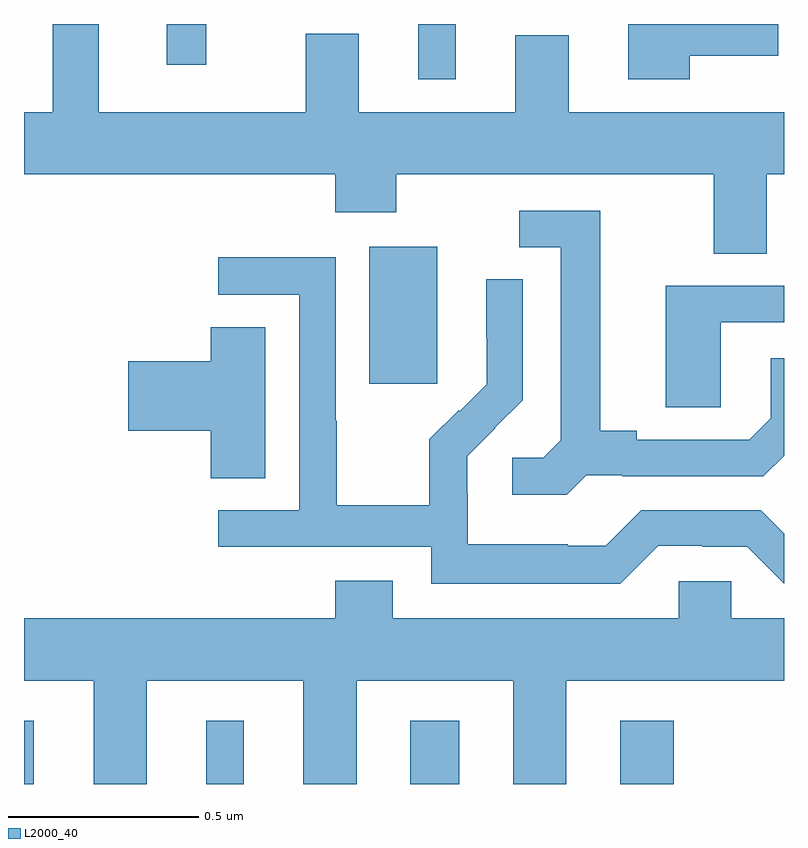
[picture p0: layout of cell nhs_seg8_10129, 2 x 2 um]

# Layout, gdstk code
import gdstk
lib = gdstk.Library(unit=1e-6, precision=1e-09)
def R(c, l, rs):  # rectangles x0, y0, x1, y1
    for r in rs: c.add(gdstk.rectangle(r[:2], r[2:], *l))
def P(c, l, *ps):  # polygons
    for p in ps: c.add(gdstk.Polygon(p, *l))
L2000_40 = (2000, 40)

nhs_seg8_10129 = lib.new_cell('nhs_seg8_10129')
R(nhs_seg8_10129, L2000_40, [(245,1110.9,245.026,1111.066), (245.48,1110.9,245.578,1111.066), (246.017,1110.9,246.145,1111.066), (246.569,1110.9,246.71,1111.066), (245.909,1111.953,246.088,1112.314), (246.038,1112.754,246.136,1112.9), (245.375,1112.793,245.479,1112.9)])
P(nhs_seg8_10129, L2000_40, [(246.955,1112.504),(247,1112.504),(247,1112.668),(246.433,1112.668),(246.433,1112.87),(246.293,1112.87),(246.293,1112.668),(245.881,1112.668),(245.881,1112.875),(245.741,1112.875),(245.741,1112.668),(245.197,1112.668),(245.197,1112.9),(245.076,1112.9),(245.076,1112.668),(245,1112.668),(245,1112.504),(245.819,1112.504),(245.819,1112.405),(245.979,1112.405),(245.979,1112.504),(246.815,1112.504),(246.815,1112.296),(246.955,1112.296)],
  [(246.752,1112.816),(246.985,1112.816),(246.985,1112.9),(246.59,1112.9),(246.59,1112.754),(246.752,1112.754)],
  [(246.48,1111.713),(246.574,1111.713),(246.574,1111.71),(246.946,1111.71),(247,1111.764),(247,1112.02),(246.965,1112.02),(246.965,1111.863),(246.908,1111.806),(246.613,1111.806),(246.613,1111.829),(246.517,1111.829),(246.517,1112.409),(246.303,1112.409),(246.303,1112.313),(246.413,1112.313),(246.413,1111.805),(246.366,1111.758),(246.285,1111.758),(246.285,1111.661),(246.428,1111.661)],
  [(246.669,1111.527),(246.785,1111.527),(246.785,1111.524),(246.903,1111.524),(246.999,1111.428),(247,1111.428),(247,1111.559),(246.939,1111.62),(246.624,1111.62),(246.531,1111.527),(246.431,1111.527),(246.431,1111.531),(246.168,1111.531),(246.168,1111.665),(246.166,1111.665),(246.166,1111.762),(246.24,1111.836),(246.239,1111.837),(246.312,1111.91),(246.312,1112.228),(246.216,1112.228),(246.216,1112.074),(246.218,1112.074),(246.218,1111.952),(246.147,1111.881),(246.144,1111.884),(246.067,1111.807),(246.067,1111.633),(245.823,1111.633),(245.823,1111.856),(245.82,1111.856),(245.82,1112.286),(245.511,1112.286),(245.511,1112.187),(245.724,1112.187),(245.724,1111.62),(245.511,1111.62),(245.511,1111.524),(246.072,1111.524),(246.072,1111.427),(246.569,1111.427)],
  [(246.834,1112.115),(247,1112.115),(247,1112.211),(246.689,1112.211),(246.689,1111.891),(246.834,1111.891)],
  [(245.635,1112.102),(245.492,1112.102),(245.492,1112.012),(245.274,1112.012),(245.274,1111.829),(245.492,1111.829),(245.492,1111.705),(245.635,1111.705)],
  [(245.323,1111.172),(245.735,1111.172),(245.735,1110.9),(245.875,1110.9),(245.875,1111.172),(246.287,1111.172),(246.287,1110.9),(246.427,1110.9),(246.427,1111.172),(247,1111.172),(247,1111.336),(246.861,1111.336),(246.861,1111.434),(246.723,1111.434),(246.723,1111.336),(245.971,1111.336),(245.971,1111.435),(245.819,1111.435),(245.819,1111.336),(245,1111.336),(245,1111.172),(245.183,1111.172),(245.183,1110.9),(245.323,1110.9)])

lib.write_gds('nhs_seg8_10129.gds')
